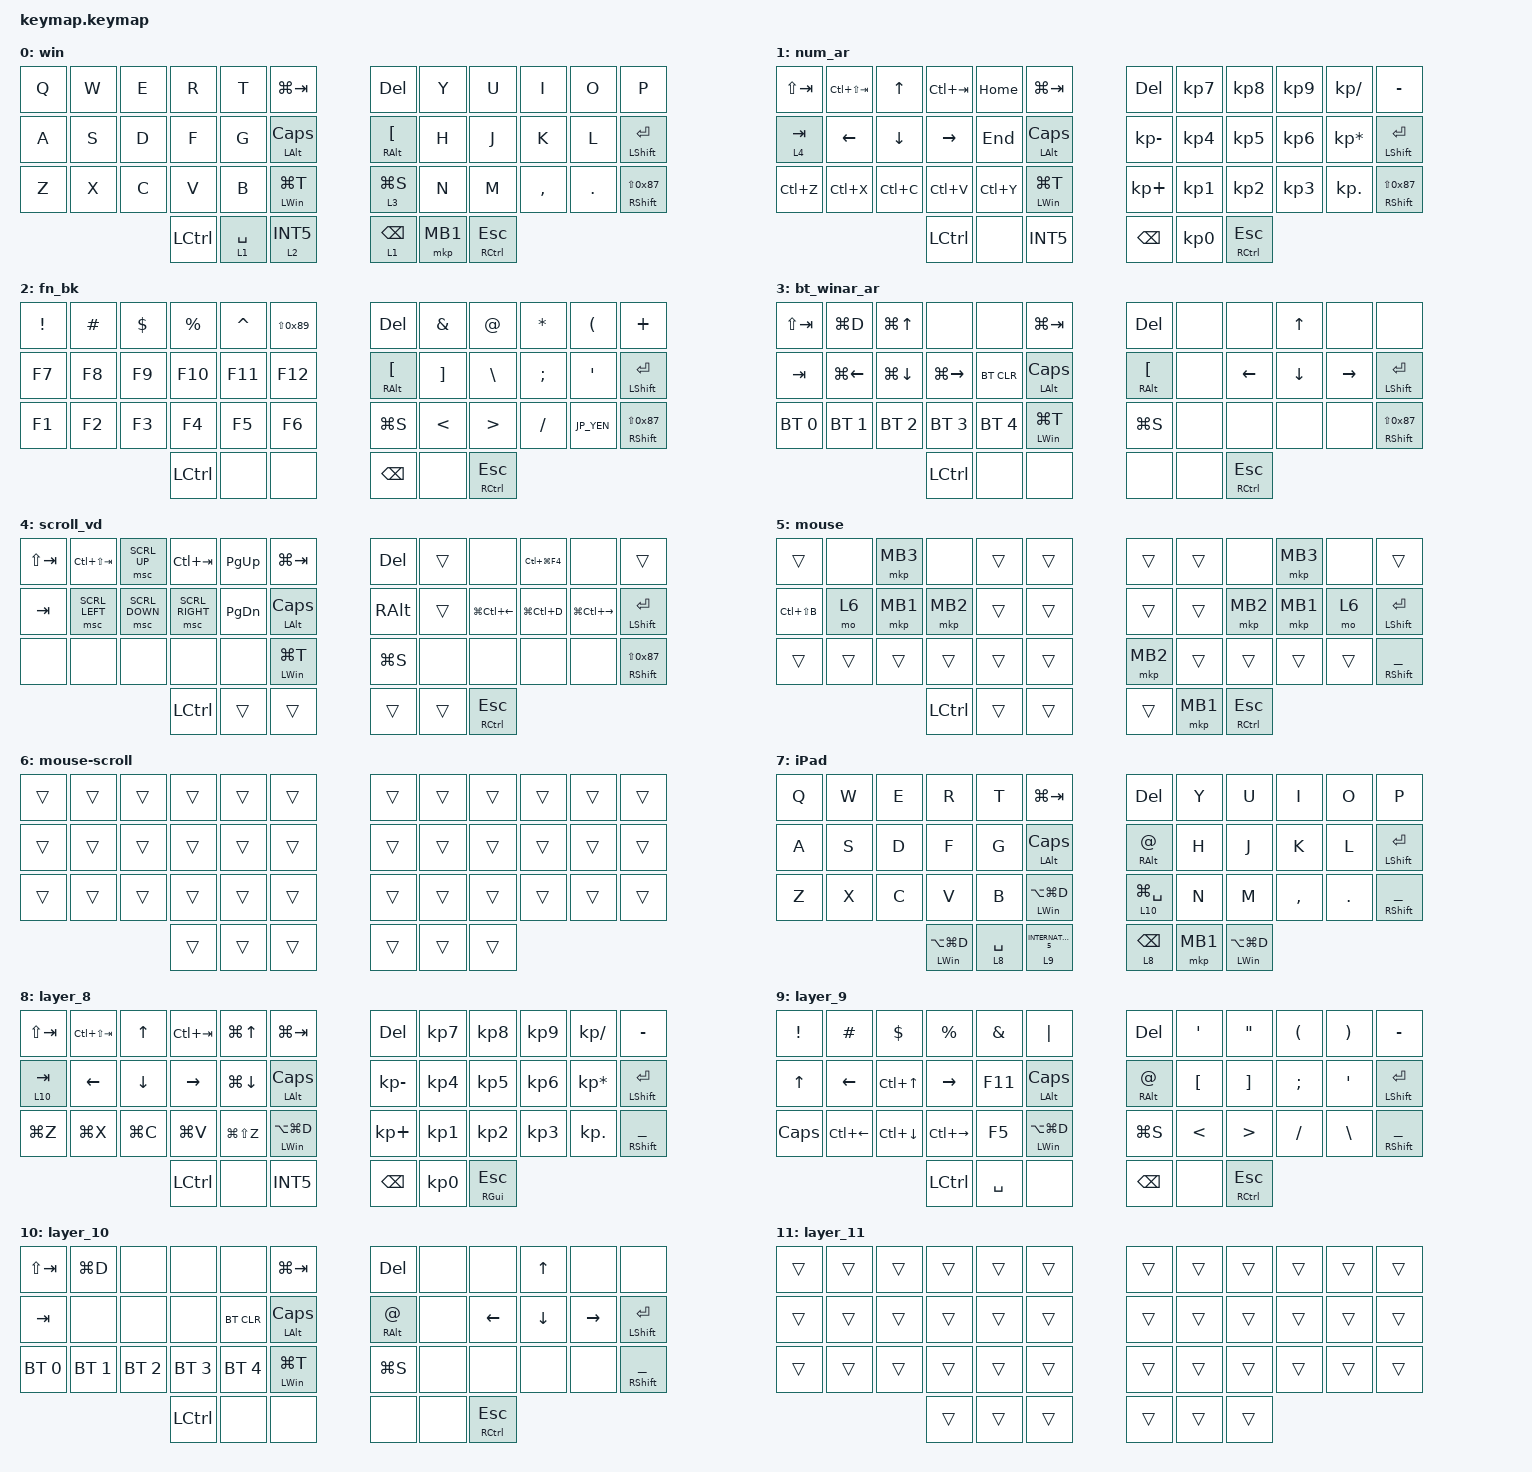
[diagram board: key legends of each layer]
#include <behaviors.dtsi>
#include <dt-bindings/zmk/bt.h>
#include <dt-bindings/zmk/keys.h>
#include <dt-bindings/zmk/pointing.h>

#define JP_DQUOTE       AT                // "
#define JP_AMPERSAND    CARET             // &
#define JP_QUOTE        AMPERSAND         // '
#define JP_EQUAL        UNDER             // =
#define JP_CARET        EQUAL             // ^
#define JP_YEN          0x89              // ¥
#define JP_PLUS         COLON             // +
#define JP_TILDE        PLUS              // ~
#define JP_PIPE         LS(0x89)          // |
#define JP_AT           LEFT_BRACKET      // @
#define JP_COLON        SINGLE_QUOTE      // :
#define JP_ASTERISK     DOUBLE_QUOTES     // *
#define JP_BACKQUOTE    LEFT_BRACE        // `
#define JP_UNDERSCORE   LS(0x87)          // _
#define JP_LBRACKET     RIGHT_BRACKET     // [
#define JP_RBRACKET     BACKSLASH         // ]
#define JP_LPAREN       ASTERISK          // (
#define JP_RPAREN       LEFT_PARENTHESIS  // )
#define JP_LBRACE       RIGHT_BRACE       // {
#define JP_RBRACE       PIPE              // }
#define JP_KANA         LANGUAGE_1        // かな
#define JP_EISU         LANGUAGE_2        // 英数
#define JP_HANZEN       GRAVE             // 半角/全角

/ {
    macros {
        sel_win_0: sel_win_0 {
            compatible = "zmk,behavior-macro";
            #binding-cells = <0>;
            bindings = <&bt BT_SEL 0 &to 0>;
        };

        sel_win_1: sel_win_1 {
            compatible = "zmk,behavior-macro";
            #binding-cells = <0>;
            bindings = <&bt BT_SEL 1 &to 0>;
        };

        sel_win_2: sel_win_2 {
            compatible = "zmk,behavior-macro";
            #binding-cells = <0>;
            bindings = <&bt BT_SEL 2 &to 0>;
        };

        sel_ipad_3: sel_ipad_3 {
            compatible = "zmk,behavior-macro";
            #binding-cells = <0>;
            bindings = <&bt BT_SEL 3 &to 7>;
        };

        sel_ipad_4: sel_ipad_4 {
            compatible = "zmk,behavior-macro";
            #binding-cells = <0>;
            bindings = <&bt BT_SEL 4 &to 7>;
        };

        splitview_l: splitview_l {
            compatible = "zmk,behavior-macro";
            #binding-cells = <0>;
            bindings =
                <&macro_press>,
                <&kp GLOBE>,
                <&macro_wait_time 50>,
                <&macro_press>,
                <&kp LEFT_CONTROL>,
                <&macro_tap_time 50>,
                <&macro_tap>,
                <&kp LEFT>,
                <&macro_release>,
                <&kp LEFT_CONTROL>,
                <&macro_release>,
                <&kp GLOBE>;

            label = "SPLITVIEW_L";
        };

        //
    }; //
    behaviors {
        // タップでマウスボタン、長押しでレイヤー移動するカスタム設定

        lt_mouse: lt_mouse {
            compatible = "zmk,behavior-hold-tap";
            #binding-cells = <2>;
            flavor = "tap-preferred";    // タップ操作を優先する設定
            tapping-term-ms = <200>;     // 200ミリ秒以上の長押しでレイヤー切り替え
            bindings = <&mo>, <&mkp>;

            // 1つ目の引数にレイヤー(&mo)、2つ目にマウスボタン(&mkp)
        };
    };

    keymap {
        compatible = "zmk,keymap";

        win {
            bindings = <
&kp Q      &kp W  &kp E  &kp R  &kp T        &kp LG(TAB)     &kp DEL              &kp Y     &kp U  &kp I      &kp O       &kp P
&kp A      &kp S  &kp D  &kp F  &kp G        &mt LALT CAPS   &mt RIGHT_ALT JP_AT  &kp H     &kp J  &kp K      &kp L       &mt LSHIFT ENTER
&kp Z      &kp X  &kp C  &kp V  &kp B        &mt LWIN LG(T)  &lt 3 LG(S)          &kp N     &kp M  &kp COMMA  &kp PERIOD  &mt RSHIFT JP_UNDERSCORE
&kp LCTRL                       &lt 1 SPACE  &lt 2 INT5      &lt 1 BACKSPACE      &mkp MB1                                &mt RCTRL ESC
            >;
        };

        num_ar {
            bindings = <
&kp LS(TAB)  &kp LC(LS(TAB))  &kp UP     &kp LC(TAB)  &kp HOME   &kp LG(TAB)     &kp DEL        &kp KP_N7        &kp KP_NUMBER_8  &kp KP_N9        &kp KP_SLASH     &kp MINUS
&lt 4 TAB    &kp LEFT         &kp DOWN   &kp RIGHT    &kp END    &mt LALT CAPS   &kp KP_MINUS   &kp KP_NUMBER_4  &kp KP_NUMBER_5  &kp KP_NUMBER_6  &kp KP_ASTERISK  &mt LSHIFT ENTER
&kp LC(Z)    &kp LC(X)        &kp LC(C)  &kp LC(V)    &kp LC(Y)  &mt LWIN LG(T)  &kp KP_PLUS    &kp KP_NUMBER_1  &kp KP_NUMBER_2  &kp KP_NUMBER_3  &kp KP_DOT       &mt RSHIFT JP_UNDERSCORE
&kp LCTRL                                             &none      &kp INT5        &kp BACKSPACE  &kp KP_NUMBER_0                                                     &mt RCTRL ESC
            >;
        };

        fn_bk {
            bindings = <
&kp EXCLAMATION  &kp HASH  &kp DOLLAR  &kp PERCENT  &kp JP_AMPERSAND  &kp JP_PIPE  &kp DEL              &kp JP_QUOTE     &kp JP_DQUOTE     &kp JP_LPAREN  &kp JP_RPAREN     &kp JP_TILDE
&kp F7           &kp F8    &kp F9      &kp F10      &kp F11           &kp F12      &mt RIGHT_ALT JP_AT  &kp JP_LBRACKET  &kp JP_RBRACKET   &kp SEMICOLON  &kp SINGLE_QUOTE  &mt LSHIFT ENTER
&kp F1           &kp F2    &kp F3      &kp F4       &kp F5            &kp F6       &kp LG(S)            &kp LESS_THAN    &kp GREATER_THAN  &kp SLASH      &kp JP_YEN        &mt RSHIFT JP_UNDERSCORE
&kp LCTRL                                           &none             &none        &kp BACKSPACE        &none                                                               &mt RCTRL ESC
            >;
        };

        bt_winar_ar {
            bindings = <
&kp LS(TAB)   &kp LG(D)     &kp LG(UP)    &none          &none         &kp LG(TAB)     &kp DEL              &none  &none     &kp UP    &none      &none
&kp TAB       &kp LG(LEFT)  &kp LG(DOWN)  &kp LG(RIGHT)  &bt BT_CLR    &mt LALT CAPS   &mt RIGHT_ALT JP_AT  &none  &kp LEFT  &kp DOWN  &kp RIGHT  &mt LSHIFT ENTER
&bt BT_SEL 0  &bt BT_SEL 1  &bt BT_SEL 2  &bt BT_SEL 3   &bt BT_SEL 4  &mt LWIN LG(T)  &kp LG(S)            &none  &none     &none     &none      &mt RSHIFT JP_UNDERSCORE
&kp LCTRL                                                &none         &none           &none                &none                                 &mt RCTRL ESC
            >;
        };

        scroll_vd {
            bindings = <
&kp LS(TAB)  &kp LC(LS(TAB))  &msc SCRL_UP    &kp LC(TAB)      &kp PAGE_UP    &kp LG(TAB)     &kp DEL    &trans  &none                   &kp LC(LG(F4))  &none                    &trans
&kp TAB      &msc SCRL_LEFT   &msc SCRL_DOWN  &msc SCRL_RIGHT  &kp PAGE_DOWN  &mt LALT CAPS   &kp RALT   &trans  &kp LG(LC(LEFT_ARROW))  &kp LG(LC(D))   &kp LG(LC(RIGHT_ARROW))  &mt LEFT_SHIFT ENTER
&none        &none            &none           &none            &none          &mt LWIN LG(T)  &kp LG(S)  &none   &none                   &none           &none                    &mt RSHIFT JP_UNDERSCORE
&kp LCTRL                                                      &trans         &trans          &trans     &trans                                                                   &mt RCTRL ESC
            >;
        };

        mouse {
            bindings = <
&trans         &none   &mkp MB3  &none     &trans  &trans  &trans    &trans    &none     &mkp MB3  &none   &trans
&kp LC(LS(B))  &mo 6   &mkp MB1  &mkp MB2  &trans  &trans  &trans    &trans    &mkp MB2  &mkp MB1  &mo 6   &mt LEFT_SHIFT ENTER
&trans         &trans  &trans    &trans    &trans  &trans  &mkp MB2  &trans    &trans    &trans    &trans  &mt RIGHT_SHIFT UNDERSCORE
&kp LCTRL                                  &trans  &trans  &trans    &mkp MB1                              &mt RCTRL ESC
            >;
        };

        mouse-scroll {
            bindings = <
&trans  &trans  &trans  &trans  &trans  &trans  &trans  &trans  &trans  &trans  &trans  &trans
&trans  &trans  &trans  &trans  &trans  &trans  &trans  &trans  &trans  &trans  &trans  &trans
&trans  &trans  &trans  &trans  &trans  &trans  &trans  &trans  &trans  &trans  &trans  &trans
&trans                          &trans  &trans  &trans  &trans                          &trans
            >;
        };

        iPad {
            bindings = <
&kp Q               &kp W  &kp E  &kp R  &kp T        &kp LG(TAB)            &kp DEL                &kp Y     &kp U  &kp I      &kp O       &kp P
&kp A               &kp S  &kp D  &kp F  &kp G        &mt LALT CAPS          &mt RIGHT_ALT AT_SIGN  &kp H     &kp J  &kp K      &kp L       &mt LSHIFT ENTER
&kp Z               &kp X  &kp C  &kp V  &kp B        &mt LWIN LA(LG(D))     &lt 10 LG(SPACE)       &kp N     &kp M  &kp COMMA  &kp PERIOD  &mt RSHIFT UNDERSCORE
&mt LWIN LA(LG(D))                       &lt 8 SPACE  &lt 9 INTERNATIONAL_5  &lt 8 BACKSPACE        &mkp MB1                                &mt LWIN LA(LG(D))
            >;
        };

        layer_8 {
            bindings = <
&kp LS(TAB)       &kp LC(LS(TAB))  &kp UP     &kp LC(TAB)  &kp LG(UP)     &kp LG(TAB)         &kp DEL        &kp KP_N7        &kp KP_NUMBER_8  &kp KP_N9        &kp KP_SLASH     &kp MINUS
&lt 10 TAB        &kp LEFT         &kp DOWN   &kp RIGHT    &kp LG(DOWN)   &mt LALT CAPS       &kp KP_MINUS   &kp KP_NUMBER_4  &kp KP_NUMBER_5  &kp KP_NUMBER_6  &kp KP_ASTERISK  &mt LSHIFT ENTER
&kp LG(Z)         &kp LG(X)        &kp LG(C)  &kp LG(V)    &kp LG(LS(Z))  &mt LWIN LA(LG(D))  &kp KP_PLUS    &kp KP_NUMBER_1  &kp KP_NUMBER_2  &kp KP_NUMBER_3  &kp KP_DOT       &mt RSHIFT UNDER
&kp LEFT_CONTROL                                           &none          &kp INT5            &kp BACKSPACE  &kp KP_NUMBER_0                                                     &mt RIGHT_GUI ESC
            >;
        };

        layer_9 {
            bindings = <
&kp EXCLAMATION  &kp HASH      &kp DOLLAR    &kp PERCENT    &kp AMPERSAND  &kp PIPE            &kp DEL                &kp SQT        &kp DOUBLE_QUOTES  &kp LEFT_PARENTHESIS  &kp RIGHT_PARENTHESIS  &kp MINUS
&kp UP           &kp LEFT      &kp LC(UP)    &kp RIGHT      &kp F11        &mt LALT CAPS       &mt RIGHT_ALT AT_SIGN  &kp LBKT       &kp RBKT           &kp SEMICOLON         &kp SINGLE_QUOTE       &mt LSHIFT ENTER
&kp CAPS         &kp LC(LEFT)  &kp LC(DOWN)  &kp LC(RIGHT)  &kp F5         &mt LWIN LA(LG(D))  &kp LG(S)              &kp LESS_THAN  &kp GREATER_THAN   &kp SLASH             &kp BSLH               &mt RSHIFT UNDER
&kp LCTRL                                                   &kp SPACE      &none               &kp BACKSPACE          &none                                                                          &mt RCTRL ESC
            >;
        };

        layer_10 {
            bindings = <
&kp LS(TAB)   &kp LG(D)     &none         &none         &none         &kp LG(TAB)     &kp DEL                &none  &none     &kp UP    &none      &none
&kp TAB       &none         &none         &none         &bt BT_CLR    &mt LALT CAPS   &mt RIGHT_ALT AT_SIGN  &none  &kp LEFT  &kp DOWN  &kp RIGHT  &mt LSHIFT ENTER
&bt BT_SEL 0  &bt BT_SEL 1  &bt BT_SEL 2  &bt BT_SEL 3  &bt BT_SEL 4  &mt LWIN LG(T)  &kp LG(S)              &none  &none     &none     &none      &mt RSHIFT UNDER
&kp LCTRL                                               &none         &none           &none                  &none                                 &mt RCTRL ESC
            >;
        };

        layer_11 {
            bindings = <
&trans  &trans  &trans  &trans  &trans  &trans  &trans  &trans  &trans  &trans  &trans  &trans
&trans  &trans  &trans  &trans  &trans  &trans  &trans  &trans  &trans  &trans  &trans  &trans
&trans  &trans  &trans  &trans  &trans  &trans  &trans  &trans  &trans  &trans  &trans  &trans
&trans                          &trans  &trans  &trans  &trans                          &trans
            >;
        };
    };
};
